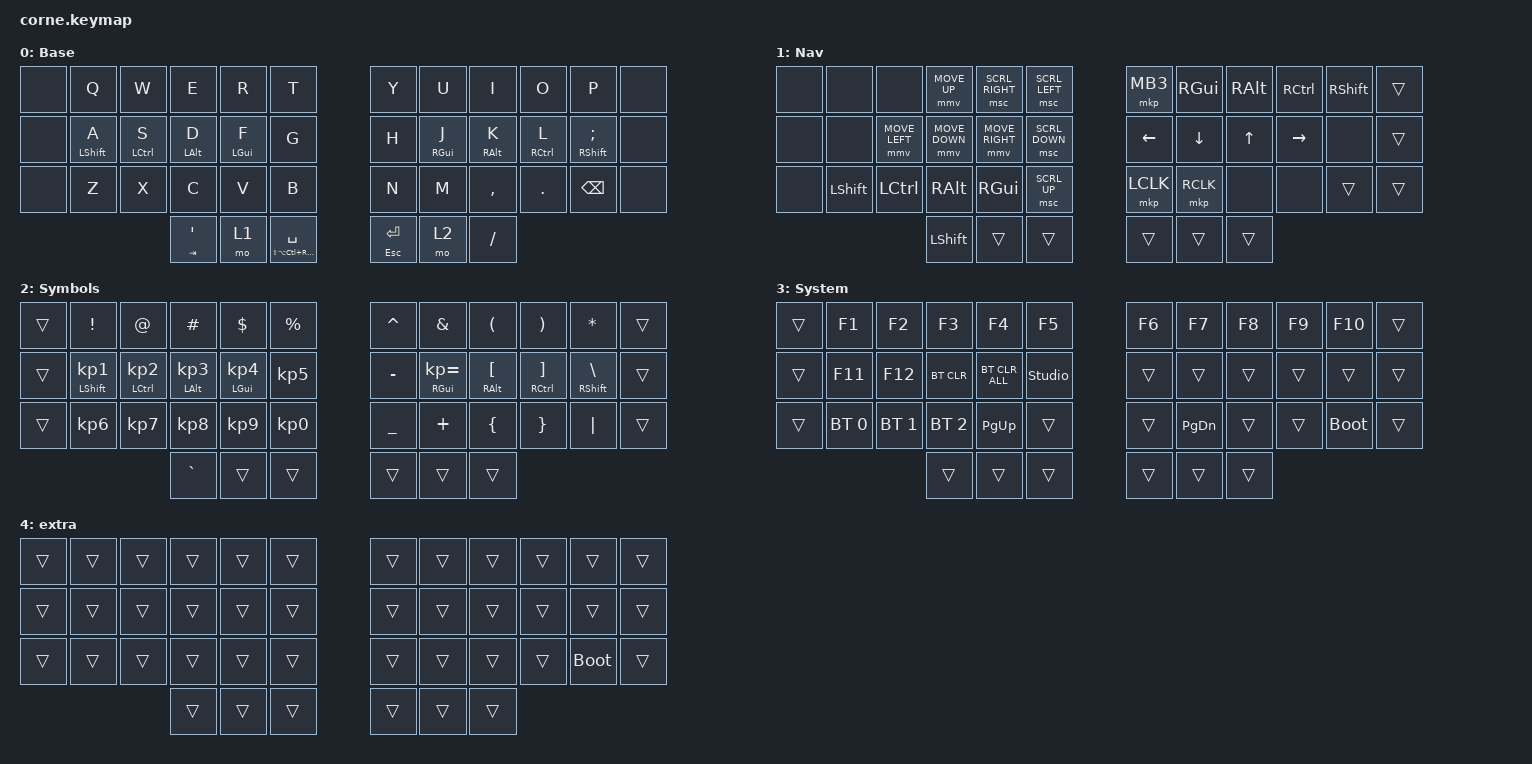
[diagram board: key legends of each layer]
#include <behaviors.dtsi>
#include <dt-bindings/zmk/bt.h>
#include <dt-bindings/zmk/keys.h>
#include <dt-bindings/zmk/pointing.h>
#include <dt-bindings/zmk/pointing.h>
#include <dt-bindings/zmk/pointing.h>

#define ZMK_POINTING_DEFAULT_MOVE_VAL 1800  // default: 600
#define ZMK_POINTING_DEFAULT_SCRL_VAL 30    // default: 10
#define U_MOUSE_MOVE_EXPONENT 0
#define U_MOUSE_MOVE_TIME 0
#define U_MOUSE_MOVE_DELAY 0
#define DEF 0
#define NAV 1
#define SYM 2
#define ADJ 3
#define EXTRA 4

/ {
    behaviors {
        hm: homerow_mods {
            compatible = "zmk,behavior-hold-tap";
            label = "HOMEROW_MODS";
            #binding-cells = <2>;
            tapping-term-ms = <220>;
            require-prior-idle-ms = <125>;
            flavor = "tap-preferred";
            bindings = <&kp>, <&kp>;
        };

        para: para {
            compatible = "zmk,behavior-tap-dance";
            label = "PARA";
            #binding-cells = <0>;
            bindings = <&kp LEFT_PARENTHESIS>, <&kp RIGHT_PARENTHESIS>;
        };

        caps: caps {
            compatible = "zmk,behavior-caps-word";
            label = "CAPS";
            #binding-cells = <0>;
            continue-list = <MINUS BACKSPACE>;
        };

        paraless: paraless {
            compatible = "zmk,behavior-mod-morph";
            label = "PARALESS";
            bindings = <&kp LEFT_PARENTHESIS>, <&kp LESS_THAN>;

            #binding-cells = <0>;
            mods = <(MOD_LSFT)>;
        };

        paragreat: paragreat {
            compatible = "zmk,behavior-mod-morph";
            label = "PARAGREAT";
            bindings = <&kp RIGHT_PARENTHESIS>, <&kp GREATER_THAN>;

            #binding-cells = <0>;
            mods = <(MOD_LSFT)>;
        };

        lht: longer_hold_tap {
            compatible = "zmk,behavior-hold-tap";
            #binding-cells = <2>;
            flavor = "tap-preferred";
            tapping-term-ms = <220>;
            require-prior-idle-ms = <125>;
            bindings = <&kp>, <&kp>;
        };
    };

    //

    // Same combos as Temper. Key positions are shifted vs. Temper because the
    // Corne has an extra outer column on each side (12 keys per row, not 10).
    combos {
        compatible = "zmk,combos";
        combo_qmark {
            timeout-ms = <50>;
            key-positions = <7 8>;
            bindings = <&kp QMARK>;
        };
        combo_tab {
            timeout-ms = <50>;
            key-positions = <27 28>;
            bindings = <&kp TAB>;
        };
        combo_slash {
            timeout-ms = <50>;
            key-positions = <31 32>;
            bindings = <&kp KP_SLASH>;
        };
        combo_grave {
            timeout-ms = <50>;
            key-positions = <31 32 33>;
            bindings = <&kp GRAVE>;
        };
        combo_apos {
            timeout-ms = <50>;
            key-positions = <2 3 4>;
            bindings = <&kp APOS>;
        };
        combo_tilde {
            timeout-ms = <50>;
            key-positions = <7 8 9>;
            bindings = <&kp TILDE>;
        };
        combo_dqt {
            timeout-ms = <50>;
            key-positions = <3 4>;
            bindings = <&kp DQT>;
        };
    };

    keymap {
        compatible = "zmk,keymap";

        DEF {
            display-name = "Base";

            // -----------------------------------------------------------------------------------------
            // |  Q  |  W  |  E  |  R  |  T  |   |  Y  |  U   |  I  |  O  |  P  |
            // |  A  |  S  |  D  |  F  |  G  |   |  H  |  J   |  K  |  L  |  ;  |
            // |  Z  |  X  |  C  |  V  |  B  |   |  N  |  M   |  ,  |  .  |  /  |
            // | GUI | CTRL | SHFT | LWR | SPC |   | ENT | RSE  | BKSP | ALT | ESC |

            bindings = <
&none  &kp Q        &kp W        &kp E           &kp R       &kp T                               &kp Y              &kp U            &kp I            &kp O                &kp P                 &none
&none  &hm LSHFT A  &hm LCTRL S  &hm LEFT_ALT D  &hm LGUI F  &kp G                               &kp H              &hm RIGHT_GUI J  &hm RIGHT_ALT K  &hm RIGHT_CONTROL L  &hm RIGHT_SHIFT SEMI  &none
&none  &kp Z        &kp X        &kp C           &kp V       &kp B                               &kp N              &kp M            &kp COMMA        &kp DOT              &kp BACKSPACE         &none
                                 &mt TAB SQT     &mo 1       &lht LS(LA(LC(RIGHT_GUI))) SPACE    &lht ESCAPE ENTER  &mo 2            &kp SLASH
            >;
        };

        NAV {
            display-name = "Nav";

            // -----------------------------------------------------------------------------------------
            // |  TAB |  1  |  2  |  3  |  4  |  5  |   |  6  |  7  |  8  |  9  |  0  | BKSP |
            // | BTCLR| BT1 | BT2 | BT3 | BT4 | BT5 |   | LFT | DWN |  UP | RGT |     |      |
            // | SHFT |     |     |     |     |     |   |     |     |     |     |     |      |
            // | GUI | CTRL | SHFT | LWR | SPC |   | ENT | RSE  | BKSP | ALT | ESC |

            bindings = <
&none  &none           &none             &mmv MOVE_UP    &msc SCRL_RIGHT  &msc SCRL_LEFT    &mkp MB3        &kp RIGHT_GUI  &kp RIGHT_ALT  &kp RCTRL        &kp RIGHT_SHIFT  &trans
&none  &none           &mmv MOVE_LEFT    &mmv MOVE_DOWN  &mmv MOVE_RIGHT  &msc SCRL_DOWN    &kp LEFT_ARROW  &kp DOWN       &kp UP_ARROW   &kp RIGHT_ARROW  &none            &trans
&none  &kp LEFT_SHIFT  &kp LEFT_CONTROL  &kp RIGHT_ALT   &kp RIGHT_GUI    &msc SCRL_UP      &mkp LCLK       &mkp RCLK      &none          &none            &trans           &trans
                                         &kp LEFT_SHIFT  &trans           &trans            &trans          &trans         &trans
            >;
        };

        SYM {
            display-name = "Symbols";

            // -----------------------------------------------------------------------------------------
            // |  TAB |  !  |  @  |  #  |  $  |  %  |   |  ^  |  &  |  *  |  (  |  )  | BKSP |
            // | CTRL |     |     |     |     |     |   |  -  |  =  |  [  |  ]  |  \  |  `   |
            // | SHFT |     |     |     |     |     |   |  _  |  +  |  {  |  }  | "|" |  ~   |
            //                    | GUI |     | SPC |   | ENT |     | ALT |

            bindings = <
&trans  &kp EXCL                    &kp AT                 &kp HASH                  &kp DLLR                  &kp PRCNT          &kp CARET  &kp AMPS                &kp LEFT_PARENTHESIS        &kp RIGHT_PARENTHESIS    &kp STAR              &trans
&trans  &hm LEFT_SHIFT KP_NUMBER_1  &hm LCTRL KP_NUMBER_2  &hm LEFT_ALT KP_NUMBER_3  &hm LEFT_GUI KP_NUMBER_4  &kp KP_NUMBER_5    &kp MINUS  &hm RIGHT_GUI KP_EQUAL  &hm RIGHT_ALT LEFT_BRACKET  &hm RCTRL RIGHT_BRACKET  &hm RIGHT_SHIFT BSLH  &trans
&trans  &kp KP_NUMBER_6             &kp KP_NUMBER_7        &kp KP_NUMBER_8           &kp KP_NUMBER_9           &kp KP_NUMBER_0    &kp UNDER  &kp PLUS                &kp LBRC                    &kp RBRC                 &kp PIPE              &trans
                                                           &kp GRAVE                 &trans                    &trans             &trans     &trans                  &trans
            >;
        };

        ADJ {
            display-name = "System";
            bindings = <
&trans  &kp F1        &kp F2        &kp F3        &kp F4      &kp F5            &kp F6  &kp F7  &kp F8  &kp F9  &kp F10      &trans
&trans  &kp F11       &kp F12       &bt BT_CLR    &bt BT_CLR_ALL  &studio_unlock    &trans  &trans  &trans  &trans  &trans       &trans
&trans  &bt BT_SEL 0  &bt BT_SEL 1  &bt BT_SEL 2  &kp PG_UP     &trans            &trans  &kp PG_DN  &trans  &trans  &bootloader  &trans
                                    &trans        &trans      &trans            &trans  &trans  &trans
            >;
        };

        EXTRA {
            display-name = "extra";
            bindings = <
&trans  &trans  &trans  &trans  &trans  &trans    &trans  &trans  &trans  &trans  &trans       &trans
&trans  &trans  &trans  &trans  &trans  &trans    &trans  &trans  &trans  &trans  &trans       &trans
&trans  &trans  &trans  &trans  &trans  &trans    &trans  &trans  &trans  &trans  &bootloader  &trans
                        &trans  &trans  &trans    &trans  &trans  &trans
            >;
        };
    };

    conditional_layers {
        compatible = "zmk,conditional-layers";

        l3 {
            if-layers = <1 2>;
            then-layer = <3>;
        };
    };
};
